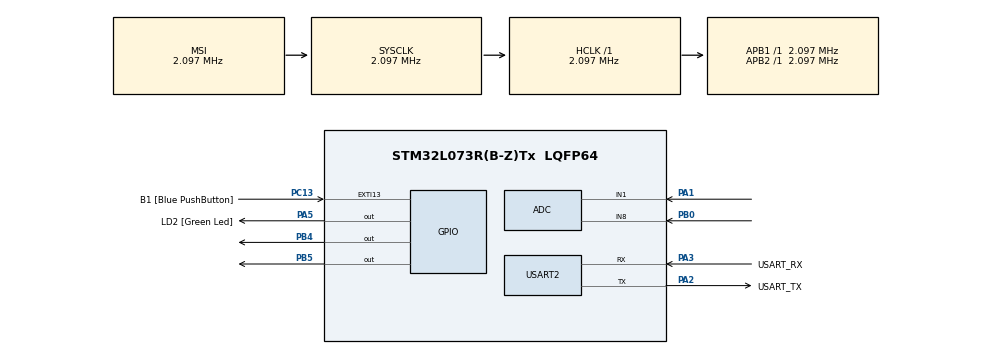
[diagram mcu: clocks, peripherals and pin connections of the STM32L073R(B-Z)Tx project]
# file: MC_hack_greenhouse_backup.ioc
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ADC.LowPowerAutoWait=ENABLE
ADC.SamplingTime=ADC_SAMPLETIME_12CYCLES_5
Mcu.Family=STM32L0
Mcu.Name=STM32L073R(B-Z)Tx
Mcu.Package=LQFP64
NVIC.EXTI4_15_IRQn=true\:1\:0\:true\:false\:true\:true\:true\:true
NVIC.RTC_IRQn=true\:0\:0\:false\:false\:true\:true\:true\:true
PA1.Mode=IN1
PA1.Signal=ADC_IN1
PA13.GPIO_Label=TMS
PA13.Mode=Serial_Wire
PA13.Signal=SYS_SWDIO
PA14.GPIO_Label=TCK
PA14.Mode=Serial_Wire
PA14.Signal=SYS_SWCLK
PA2.GPIO_Label=USART_TX
PA2.Mode=Asynchronous
PA2.Signal=USART2_TX
PA3.GPIO_Label=USART_RX
PA3.Mode=Asynchronous
PA3.Signal=USART2_RX
PA5.GPIO_Label=LD2 [Green Led]
PA5.Signal=GPIO_Output
PB0.Mode=IN8
PB0.Signal=ADC_IN8
PB4.Signal=GPIO_Output
PB5.Signal=GPIO_Output
PC13.GPIO_Label=B1 [Blue PushButton]
PC13.GPIO_ModeDefaultEXTI=GPIO_MODE_IT_FALLING
PC13.Signal=GPXTI13
PC14-OSC32_IN.Mode=LSE-External-Oscillator
PC14-OSC32_IN.Signal=RCC_OSC32_IN
PC15-OSC32_OUT.Mode=LSE-External-Oscillator
PC15-OSC32_OUT.Signal=RCC_OSC32_OUT
PH0-OSC_IN.GPIO_Label=MCO
PH0-OSC_IN.Mode=HSE-External-Clock-Source
PH0-OSC_IN.Signal=RCC_OSC_IN
ProjectManager.HeapSize=0x200
ProjectManager.StackSize=0x400
ProjectManager.TargetToolchain=STM32CubeIDE
RCC.AHBFreq_Value=2097000
RCC.APB1Freq_Value=2097000
RCC.APB1TimFreq_Value=2097000
RCC.APB2Freq_Value=2097000
RCC.APB2TimFreq_Value=2097000
RCC.HSE_VALUE=8000000
RCC.HSI16_VALUE=16000000
RCC.HSI48_VALUE=48000000
RCC.HSI_VALUE=16000000
RCC.MSI_VALUE=2097000
RCC.RTCClockSelection=RCC_RTCCLKSOURCE_LSE
RCC.SYSCLKFreq_VALUE=2097000
RCC.VCOOutputFreq_Value=48000000
RTC.WakeUpCounter-WakeUp=0x5F46
USART2.VirtualMode-Asynchronous=VM_ASYNC
VP_RTC_VS_RTC_Activate.Mode=RTC_Enabled
VP_RTC_VS_RTC_WakeUp_intern.Mode=WakeUp
board=NUCLEO-L073RZ

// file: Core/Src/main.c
/* USER CODE BEGIN Header */
/**
  ******************************************************************************
  * @file           : main.c
  * @brief          : Main program body
  ******************************************************************************
  * @attention
  *
  * Copyright (c) 2022 STMicroelectronics.
  * All rights reserved.
  *
  * This software is licensed under terms that can be found in the LICENSE file
  * in the root directory of this software component.
  * If no LICENSE file comes with this software, it is provided AS-IS.
  *
  ******************************************************************************
  */
/* USER CODE END Header */
#include "main.h"

ADC_HandleTypeDef hadc;

RTC_HandleTypeDef hrtc;

UART_HandleTypeDef huart2;

/* USER CODE BEGIN PV */
unsigned int soil_in = 0;
int light_lv = 0;
unsigned int pour_time = 0;
float temperature = 25.0;
float humidity = 60.0;
int pest_spray = 0;
int spraying = 0;
/* USER CODE END PV */

void SystemClock_Config(void);
static void MX_GPIO_Init(void);
static void MX_USART2_UART_Init(void);
static void MX_ADC_Init(void);
static void MX_RTC_Init(void);

int main(void)
{

  /* MCU Configuration--------------------------------------------------------*/

  /* Reset of all peripherals, Initializes the Flash interface and the Systick. */
  HAL_Init();

  /* Configure the system clock */
  SystemClock_Config();

  /* Initialize all configured peripherals */
  MX_GPIO_Init();
  MX_USART2_UART_Init();
  MX_ADC_Init();
  MX_RTC_Init();
  /* USER CODE BEGIN 2 */
  HAL_ADCEx_Calibration_Start(&hadc, ADC_SINGLE_ENDED);
  /* USER CODE END 2 */

  /* Infinite loop */
  /* USER CODE BEGIN WHILE */
//  float temperature = 25.0;
//  float humidity = 60.0;
  while (1)
  {
	HAL_RTCEx_DeactivateWakeUpTimer(&hrtc);
	HAL_RTCEx_SetWakeUpTimer_IT(&hrtc, 0x5F46, RTC_WAKEUPCLOCK_RTCCLK_DIV16);
	HAL_SuspendTick();

	/* Enter STOP mode */
	HAL_PWR_EnterSTOPMode(PWR_LOWPOWERREGULATOR_ON, PWR_STOPENTRY_WFI);
	HAL_ResumeTick();
	SystemClock_Config();

	// HAL_GPIO_WritePin(LD2_GPIO_Port, LD2_Pin, GPIO_PIN_SET);
	// HAL_Delay(1000);
	// HAL_GPIO_WritePin(LD2_GPIO_Port, LD2_Pin, GPIO_PIN_RESET);
	/* USER CODE END WHILE */

    /* USER CODE BEGIN 3 */
	HAL_GPIO_WritePin(LD2_GPIO_Port, LD2_Pin, GPIO_PIN_SET);
    ADC_ChannelConfTypeDef sConfig = {0};

    sConfig.Channel = ADC_CHANNEL_1;
    sConfig.Rank = 1;
    if (HAL_ADC_ConfigChannel(&hadc, &sConfig) != HAL_OK)
	{
	  Error_Handler();
	}
	HAL_ADC_Start(&hadc);
    HAL_ADC_PollForConversion(&hadc, 10);
    soil_in = HAL_ADC_GetValue(&hadc);

    // HAL_ADC_Stop(&hadc);

    sConfig.Channel = ADC_CHANNEL_8;
    sConfig.Rank = 1;
    if (HAL_ADC_ConfigChannel(&hadc, &sConfig) != HAL_OK)
    {
      Error_Handler();
    }
	// HAL_ADC_Start(&hadc);
    HAL_ADC_PollForConversion(&hadc, 10);
	light_lv = HAL_ADC_GetValue(&hadc);
    HAL_ADC_Stop(&hadc);
    temperature++;
    humidity--;
	pest_spray = 250*(-0.6065 + 0.1632*temperature - 0.0024*humidity);
	if(pest_spray < 0) pest_spray = 0;

    pour_time = soil_in * 0.5 - 0.2*(light_lv-1500);
    if(soil_in < 2600 || temperature > 32) pour_time = 0;

	// water spray
	HAL_GPIO_WritePin(GPIOB, GPIO_PIN_5, GPIO_PIN_SET);
	HAL_Delay(pour_time);
	HAL_GPIO_WritePin(GPIOB, GPIO_PIN_5, GPIO_PIN_RESET);
	spraying++;
	spraying %= 2;
	if(!spraying) pest_spray = 0;
	// pest repellent spray
	HAL_GPIO_WritePin(GPIOB, GPIO_PIN_4, GPIO_PIN_SET);
	HAL_Delay(pest_spray);
	HAL_GPIO_WritePin(GPIOB, GPIO_PIN_4, GPIO_PIN_RESET);

  HAL_GPIO_WritePin(LD2_GPIO_Port, LD2_Pin, GPIO_PIN_RESET);
  }
  /* USER CODE END 3 */
}

void SystemClock_Config(void)
{
  RCC_OscInitTypeDef RCC_OscInitStruct = {0};
  RCC_ClkInitTypeDef RCC_ClkInitStruct = {0};
  RCC_PeriphCLKInitTypeDef PeriphClkInit = {0};

  /** Configure the main internal regulator output voltage
  */
  __HAL_PWR_VOLTAGESCALING_CONFIG(PWR_REGULATOR_VOLTAGE_SCALE1);

  /** Configure LSE Drive Capability
  */
  HAL_PWR_EnableBkUpAccess();
  __HAL_RCC_LSEDRIVE_CONFIG(RCC_LSEDRIVE_LOW);

  /** Initializes the RCC Oscillators according to the specified parameters
  * in the RCC_OscInitTypeDef structure.
  */
  RCC_OscInitStruct.OscillatorType = RCC_OSCILLATORTYPE_LSE|RCC_OSCILLATORTYPE_MSI;
  RCC_OscInitStruct.LSEState = RCC_LSE_ON;
  RCC_OscInitStruct.MSIState = RCC_MSI_ON;
  RCC_OscInitStruct.MSICalibrationValue = 0;
  RCC_OscInitStruct.MSIClockRange = RCC_MSIRANGE_5;
  RCC_OscInitStruct.PLL.PLLState = RCC_PLL_NONE;
  if (HAL_RCC_OscConfig(&RCC_OscInitStruct) != HAL_OK)
  {
    Error_Handler();
  }

  /** Initializes the CPU, AHB and APB buses clocks
  */
  RCC_ClkInitStruct.ClockType = RCC_CLOCKTYPE_HCLK|RCC_CLOCKTYPE_SYSCLK
                              |RCC_CLOCKTYPE_PCLK1|RCC_CLOCKTYPE_PCLK2;
  RCC_ClkInitStruct.SYSCLKSource = RCC_SYSCLKSOURCE_MSI;
  RCC_ClkInitStruct.AHBCLKDivider = RCC_SYSCLK_DIV1;
  RCC_ClkInitStruct.APB1CLKDivider = RCC_HCLK_DIV1;
  RCC_ClkInitStruct.APB2CLKDivider = RCC_HCLK_DIV1;

  if (HAL_RCC_ClockConfig(&RCC_ClkInitStruct, FLASH_LATENCY_0) != HAL_OK)
  {
    Error_Handler();
  }
  PeriphClkInit.PeriphClockSelection = RCC_PERIPHCLK_USART2|RCC_PERIPHCLK_RTC;
  PeriphClkInit.Usart2ClockSelection = RCC_USART2CLKSOURCE_PCLK1;
  PeriphClkInit.RTCClockSelection = RCC_RTCCLKSOURCE_LSE;
  if (HAL_RCCEx_PeriphCLKConfig(&PeriphClkInit) != HAL_OK)
  {
    Error_Handler();
  }
}

static void MX_ADC_Init(void)
{

  ADC_ChannelConfTypeDef sConfig = {0};

  /** Configure the global features of the ADC (Clock, Resolution, Data Alignment and number of conversion)
  */
  hadc.Instance = ADC1;
  hadc.Init.OversamplingMode = DISABLE;
  hadc.Init.ClockPrescaler = ADC_CLOCK_SYNC_PCLK_DIV1;
  hadc.Init.Resolution = ADC_RESOLUTION_12B;
  hadc.Init.SamplingTime = ADC_SAMPLETIME_12CYCLES_5;
  hadc.Init.ScanConvMode = ADC_SCAN_DIRECTION_FORWARD;
  hadc.Init.DataAlign = ADC_DATAALIGN_RIGHT;
  hadc.Init.ContinuousConvMode = DISABLE;
  hadc.Init.DiscontinuousConvMode = DISABLE;
  hadc.Init.ExternalTrigConvEdge = ADC_EXTERNALTRIGCONVEDGE_NONE;
  hadc.Init.ExternalTrigConv = ADC_SOFTWARE_START;
  hadc.Init.DMAContinuousRequests = DISABLE;
  hadc.Init.EOCSelection = ADC_EOC_SINGLE_CONV;
  hadc.Init.Overrun = ADC_OVR_DATA_PRESERVED;
  hadc.Init.LowPowerAutoWait = ENABLE;
  hadc.Init.LowPowerFrequencyMode = ENABLE;
  hadc.Init.LowPowerAutoPowerOff = DISABLE;
  if (HAL_ADC_Init(&hadc) != HAL_OK)
  {
    Error_Handler();
  }

  /** Configure for the selected ADC regular channel to be converted.
  */
  sConfig.Channel = ADC_CHANNEL_1;
  sConfig.Rank = ADC_RANK_CHANNEL_NUMBER;
  if (HAL_ADC_ConfigChannel(&hadc, &sConfig) != HAL_OK)
  {
    Error_Handler();
  }

  /** Configure for the selected ADC regular channel to be converted.
  */
  sConfig.Channel = ADC_CHANNEL_8;
  if (HAL_ADC_ConfigChannel(&hadc, &sConfig) != HAL_OK)
  {
    Error_Handler();
  }

}

static void MX_RTC_Init(void)
{

  /** Initialize RTC Only
  */
  hrtc.Instance = RTC;
  hrtc.Init.HourFormat = RTC_HOURFORMAT_24;
  hrtc.Init.AsynchPrediv = 127;
  hrtc.Init.SynchPrediv = 255;
  hrtc.Init.OutPut = RTC_OUTPUT_DISABLE;
  hrtc.Init.OutPutRemap = RTC_OUTPUT_REMAP_NONE;
  hrtc.Init.OutPutPolarity = RTC_OUTPUT_POLARITY_HIGH;
  hrtc.Init.OutPutType = RTC_OUTPUT_TYPE_OPENDRAIN;
  if (HAL_RTC_Init(&hrtc) != HAL_OK)
  {
    Error_Handler();
  }

  /** Enable the WakeUp
  */
  if (HAL_RTCEx_SetWakeUpTimer_IT(&hrtc, 0x5F46, RTC_WAKEUPCLOCK_RTCCLK_DIV16) != HAL_OK)
  {
    Error_Handler();
  }

}

static void MX_USART2_UART_Init(void)
{

  huart2.Instance = USART2;
  huart2.Init.BaudRate = 115200;
  huart2.Init.WordLength = UART_WORDLENGTH_8B;
  huart2.Init.StopBits = UART_STOPBITS_1;
  huart2.Init.Parity = UART_PARITY_NONE;
  huart2.Init.Mode = UART_MODE_TX_RX;
  huart2.Init.HwFlowCtl = UART_HWCONTROL_NONE;
  huart2.Init.OverSampling = UART_OVERSAMPLING_16;
  huart2.Init.OneBitSampling = UART_ONE_BIT_SAMPLE_DISABLE;
  huart2.AdvancedInit.AdvFeatureInit = UART_ADVFEATURE_NO_INIT;
  if (HAL_UART_Init(&huart2) != HAL_OK)
  {
    Error_Handler();
  }

}

static void MX_GPIO_Init(void)
{
  GPIO_InitTypeDef GPIO_InitStruct = {0};

  /* GPIO Ports Clock Enable */
  __HAL_RCC_GPIOC_CLK_ENABLE();
  __HAL_RCC_GPIOH_CLK_ENABLE();
  __HAL_RCC_GPIOA_CLK_ENABLE();
  __HAL_RCC_GPIOB_CLK_ENABLE();

  /*Configure GPIO pin Output Level */
  HAL_GPIO_WritePin(LD2_GPIO_Port, LD2_Pin, GPIO_PIN_RESET);

  /*Configure GPIO pin Output Level */
  HAL_GPIO_WritePin(GPIOB, GPIO_PIN_4|GPIO_PIN_5, GPIO_PIN_RESET);

  /*Configure GPIO pin : B1_Pin */
  GPIO_InitStruct.Pin = B1_Pin;
  GPIO_InitStruct.Mode = GPIO_MODE_IT_FALLING;
  GPIO_InitStruct.Pull = GPIO_NOPULL;
  HAL_GPIO_Init(B1_GPIO_Port, &GPIO_InitStruct);

  /*Configure GPIO pin : LD2_Pin */
  GPIO_InitStruct.Pin = LD2_Pin;
  GPIO_InitStruct.Mode = GPIO_MODE_OUTPUT_PP;
  GPIO_InitStruct.Pull = GPIO_NOPULL;
  GPIO_InitStruct.Speed = GPIO_SPEED_FREQ_LOW;
  HAL_GPIO_Init(LD2_GPIO_Port, &GPIO_InitStruct);

  /*Configure GPIO pins : PB4 PB5 */
  GPIO_InitStruct.Pin = GPIO_PIN_4|GPIO_PIN_5;
  GPIO_InitStruct.Mode = GPIO_MODE_OUTPUT_PP;
  GPIO_InitStruct.Pull = GPIO_NOPULL;
  GPIO_InitStruct.Speed = GPIO_SPEED_FREQ_LOW;
  HAL_GPIO_Init(GPIOB, &GPIO_InitStruct);

  /* EXTI interrupt init*/
  HAL_NVIC_SetPriority(EXTI4_15_IRQn, 1, 0);
  HAL_NVIC_EnableIRQ(EXTI4_15_IRQn);

}

/* USER CODE BEGIN 4 */
void HAL_GPIO_EXTI_Callback(uint16_t GPIO_Pin){
/* Interrupt is triggered by PC13 */
	if(GPIO_Pin == GPIO_PIN_13){
		/* Toggle LED */
		// HAL_GPIO_TogglePin(out_port, out_pin);
		HAL_GPIO_WritePin(LD2_GPIO_Port, LD2_Pin, GPIO_PIN_SET);

		// // water spray
		// HAL_GPIO_WritePin(GPIOB, GPIO_PIN_5, GPIO_PIN_SET);
		// HAL_Delay(pour_time);
		//  pour_time = 0;
		// HAL_GPIO_WritePin(GPIOB, GPIO_PIN_5, GPIO_PIN_RESET);

		// // pest repellent spray
		// HAL_GPIO_WritePin(GPIOB, GPIO_PIN_4, GPIO_PIN_SET);
		// HAL_Delay(pest_spray);
		// pest_spray = 0;
		// HAL_GPIO_WritePin(GPIOB, GPIO_PIN_4, GPIO_PIN_RESET);

		HAL_GPIO_WritePin(LD2_GPIO_Port, LD2_Pin, GPIO_PIN_RESET);
	}
}
/* USER CODE END 4 */

void Error_Handler(void)
{
  __disable_irq();
  while (1)
  {
  }
}
